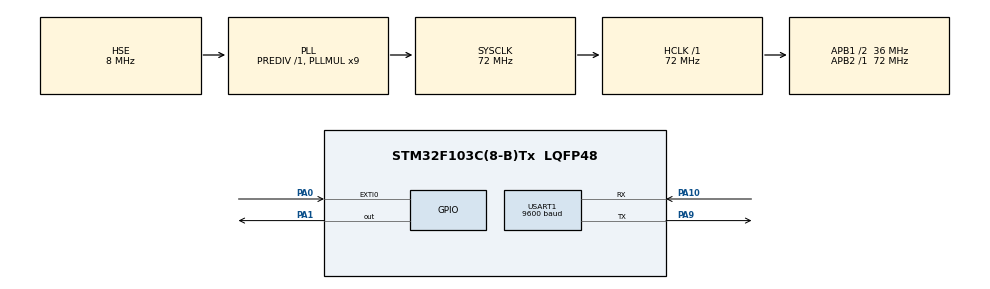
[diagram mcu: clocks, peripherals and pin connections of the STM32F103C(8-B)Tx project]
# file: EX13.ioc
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FREERTOS.BinarySemaphores01=sema01,Dynamic,NULL,Available
FREERTOS.Tasks01=Task01,0,128,Task01Funct,Default,NULL,Dynamic,NULL,NULL
Mcu.Family=STM32F1
Mcu.Name=STM32F103C(8-B)Tx
Mcu.Package=LQFP48
NVIC.EXTI0_IRQn=true\:5\:0\:false\:false\:true\:true\:true\:true\:true
NVIC.PriorityGroup=NVIC_PRIORITYGROUP_4
NVIC.TIM1_UP_IRQn=true\:15\:0\:false\:false\:true\:false\:false\:true\:true
NVIC.TimeBase=TIM1_UP_IRQn
NVIC.TimeBaseIP=TIM1
PA0-WKUP.GPIO_ModeDefaultEXTI=GPIO_MODE_IT_FALLING
PA0-WKUP.GPIO_PuPd=GPIO_PULLUP
PA0-WKUP.Signal=GPXTI0
PA1.PinState=GPIO_PIN_SET
PA1.Signal=GPIO_Output
PA10.Mode=Asynchronous
PA10.Signal=USART1_RX
PA13.Mode=Serial_Wire
PA13.Signal=SYS_JTMS-SWDIO
PA14.Mode=Serial_Wire
PA14.Signal=SYS_JTCK-SWCLK
PA9.Mode=Asynchronous
PA9.Signal=USART1_TX
PD0-OSC_IN.Mode=HSE-External-Oscillator
PD0-OSC_IN.Signal=RCC_OSC_IN
PD1-OSC_OUT.Mode=HSE-External-Oscillator
PD1-OSC_OUT.Signal=RCC_OSC_OUT
ProjectManager.HeapSize=0x200
ProjectManager.StackSize=0x400
ProjectManager.TargetToolchain=MDK-ARM V5.32
RCC.AHBFreq_Value=72000000
RCC.APB1CLKDivider=RCC_HCLK_DIV2
RCC.APB1Freq_Value=36000000
RCC.APB1TimFreq_Value=72000000
RCC.APB2Freq_Value=72000000
RCC.APB2TimFreq_Value=72000000
RCC.HCLKFreq_Value=72000000
RCC.PLLMUL=RCC_PLL_MUL9
RCC.PLLSourceVirtual=RCC_PLLSOURCE_HSE
RCC.SYSCLKFreq_VALUE=72000000
RCC.SYSCLKSource=RCC_SYSCLKSOURCE_PLLCLK
RCC.USBFreq_Value=72000000
USART1.BaudRate=9600
USART1.VirtualMode=VM_ASYNC
VP_FREERTOS_VS_CMSIS_V1.Mode=CMSIS_V1
VP_SYS_VS_tim1.Mode=TIM1
board=custom

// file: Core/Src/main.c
/* USER CODE BEGIN Header */
/**
  ******************************************************************************
  * @file           : main.c
  * @brief          : Main program body
  ******************************************************************************
  * @attention
  *
  * Copyright (c) 2025 STMicroelectronics.
  * All rights reserved.
  *
  * This software is licensed under terms that can be found in the LICENSE file
  * in the root directory of this software component.
  * If no LICENSE file comes with this software, it is provided AS-IS.
  *
  ******************************************************************************
  */
/* USER CODE END Header */
#include "main.h"
#include "cmsis_os.h"

/* USER CODE BEGIN Includes */
#include "stdio.h"
#include "string.h"
/* USER CODE END Includes */

UART_HandleTypeDef huart1;

osThreadId Task01Handle;
osSemaphoreId sema01Handle;

void SystemClock_Config(void);
static void MX_GPIO_Init(void);
static void MX_USART1_UART_Init(void);
void Task01Funct(void const * argument);

/* USER CODE BEGIN 0 */
void UART1_SendChar(char c){
	HAL_UART_Transmit(&huart1, (uint8_t*)&c, 1, HAL_MAX_DELAY);
}

struct __FILE {
    int dummy;
};
FILE __stdout;
int fputc(int ch, FILE *f){
	UART1_SendChar(ch);
	return ch;
}
/* USER CODE END 0 */

int main(void)
{

  /* MCU Configuration--------------------------------------------------------*/

  /* Reset of all peripherals, Initializes the Flash interface and the Systick. */
  HAL_Init();

  /* Configure the system clock */
  SystemClock_Config();

  /* Initialize all configured peripherals */
  MX_GPIO_Init();
  MX_USART1_UART_Init();

  /* Create the semaphores(s) */
  /* definition and creation of sema01 */
  osSemaphoreDef(sema01);
  sema01Handle = osSemaphoreCreate(osSemaphore(sema01), 1);

  /* Create the thread(s) */
  /* definition and creation of Task01 */
  osThreadDef(Task01, Task01Funct, osPriorityNormal, 0, 128);
  Task01Handle = osThreadCreate(osThread(Task01), NULL);

  /* Start scheduler */
  osKernelStart();

  /* We should never get here as control is now taken by the scheduler */

  /* Infinite loop */
  while (1)
  {

  }
}

void SystemClock_Config(void)
{
  RCC_OscInitTypeDef RCC_OscInitStruct = {0};
  RCC_ClkInitTypeDef RCC_ClkInitStruct = {0};

  /** Initializes the RCC Oscillators according to the specified parameters
  * in the RCC_OscInitTypeDef structure.
  */
  RCC_OscInitStruct.OscillatorType = RCC_OSCILLATORTYPE_HSE;
  RCC_OscInitStruct.HSEState = RCC_HSE_ON;
  RCC_OscInitStruct.HSEPredivValue = RCC_HSE_PREDIV_DIV1;
  RCC_OscInitStruct.HSIState = RCC_HSI_ON;
  RCC_OscInitStruct.PLL.PLLState = RCC_PLL_ON;
  RCC_OscInitStruct.PLL.PLLSource = RCC_PLLSOURCE_HSE;
  RCC_OscInitStruct.PLL.PLLMUL = RCC_PLL_MUL9;
  if (HAL_RCC_OscConfig(&RCC_OscInitStruct) != HAL_OK)
  {
    Error_Handler();
  }

  /** Initializes the CPU, AHB and APB buses clocks
  */
  RCC_ClkInitStruct.ClockType = RCC_CLOCKTYPE_HCLK|RCC_CLOCKTYPE_SYSCLK
                              |RCC_CLOCKTYPE_PCLK1|RCC_CLOCKTYPE_PCLK2;
  RCC_ClkInitStruct.SYSCLKSource = RCC_SYSCLKSOURCE_PLLCLK;
  RCC_ClkInitStruct.AHBCLKDivider = RCC_SYSCLK_DIV1;
  RCC_ClkInitStruct.APB1CLKDivider = RCC_HCLK_DIV2;
  RCC_ClkInitStruct.APB2CLKDivider = RCC_HCLK_DIV1;

  if (HAL_RCC_ClockConfig(&RCC_ClkInitStruct, FLASH_LATENCY_2) != HAL_OK)
  {
    Error_Handler();
  }
}

static void MX_USART1_UART_Init(void)
{

  huart1.Instance = USART1;
  huart1.Init.BaudRate = 9600;
  huart1.Init.WordLength = UART_WORDLENGTH_8B;
  huart1.Init.StopBits = UART_STOPBITS_1;
  huart1.Init.Parity = UART_PARITY_NONE;
  huart1.Init.Mode = UART_MODE_TX_RX;
  huart1.Init.HwFlowCtl = UART_HWCONTROL_NONE;
  huart1.Init.OverSampling = UART_OVERSAMPLING_16;
  if (HAL_UART_Init(&huart1) != HAL_OK)
  {
    Error_Handler();
  }

}

static void MX_GPIO_Init(void)
{
  GPIO_InitTypeDef GPIO_InitStruct = {0};

  /* GPIO Ports Clock Enable */
  __HAL_RCC_GPIOD_CLK_ENABLE();
  __HAL_RCC_GPIOA_CLK_ENABLE();

  /*Configure GPIO pin Output Level */
  HAL_GPIO_WritePin(GPIOA, GPIO_PIN_1, GPIO_PIN_SET);

  /*Configure GPIO pin : PA0 */
  GPIO_InitStruct.Pin = GPIO_PIN_0;
  GPIO_InitStruct.Mode = GPIO_MODE_IT_FALLING;
  GPIO_InitStruct.Pull = GPIO_PULLUP;
  HAL_GPIO_Init(GPIOA, &GPIO_InitStruct);

  /*Configure GPIO pin : PA1 */
  GPIO_InitStruct.Pin = GPIO_PIN_1;
  GPIO_InitStruct.Mode = GPIO_MODE_OUTPUT_PP;
  GPIO_InitStruct.Pull = GPIO_NOPULL;
  GPIO_InitStruct.Speed = GPIO_SPEED_FREQ_LOW;
  HAL_GPIO_Init(GPIOA, &GPIO_InitStruct);

  /* EXTI interrupt init*/
  HAL_NVIC_SetPriority(EXTI0_IRQn, 5, 0);
  HAL_NVIC_EnableIRQ(EXTI0_IRQn);

}

/* USER CODE BEGIN 4 */
void HAL_GPIO_EXTI_Callback(uint16_t GPIO_Pin)
{
    BaseType_t xHigherPriorityTaskWoken = pdFALSE;
    if (GPIO_Pin == GPIO_PIN_0) {
				printf("EXTI0");
        xSemaphoreGiveFromISR(sema01Handle, &xHigherPriorityTaskWoken);
        portYIELD_FROM_ISR(xHigherPriorityTaskWoken);
    }
}

/* USER CODE END 4 */

void Task01Funct(void const * argument)
{
  /* USER CODE BEGIN 5 */
  /* Infinite loop */
  for(;;)
  {
		if (xSemaphoreTake(sema01Handle, portMAX_DELAY) == pdTRUE)
    {
        printf("Button pressed!\r\n");
        HAL_GPIO_TogglePin(GPIOA, GPIO_PIN_1);
    }
  }
  /* USER CODE END 5 */
}

void HAL_TIM_PeriodElapsedCallback(TIM_HandleTypeDef *htim)
{
  if (htim->Instance == TIM1) {
    HAL_IncTick();
  }
}

void Error_Handler(void)
{
  __disable_irq();
  while (1)
  {
  }
}
